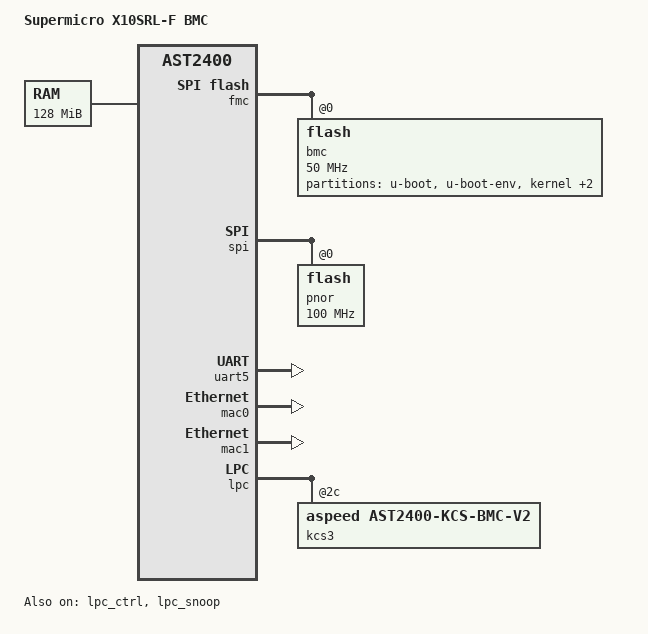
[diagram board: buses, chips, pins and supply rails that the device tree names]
// SPDX-License-Identifier: GPL-2.0+
// Copyright (c) 2026 OpenBMC Community
/dts-v1/;

#include "aspeed-g4.dtsi"
#include <dt-bindings/gpio/aspeed-gpio.h>

/ {
    model = "Supermicro X10SRL-F BMC";
    compatible = "supermicro,x10srl-bmc", "aspeed,ast2400";

    chosen {
        stdout-path = &uart5;
        bootargs = "console=ttyS4,115200 earlyprintk";
    };

    memory@40000000 {
        // TODO: Verify actual size from vendor U-Boot output
        // Conservative 128MB until confirmed
        reg = <0x40000000 0x08000000>;
    };

    reserved-memory {
        #address-cells = <1>;
        #size-cells = <1>;
        ranges;

        vga_memory: framebuffer@47800000 {
            no-map;
            reg = <0x47800000 0x00800000>; // 8MB for VGA
        };
    };
};

// SPI Flash - 32MB confirmed from product specs
&fmc {
    status = "okay";
    flash@0 {
        status = "okay";
        m25p,fast-read;
        label = "bmc";
        spi-max-frequency = <50000000>;
        partitions {
            compatible = "fixed-partitions";
            #address-cells = <1>;
            #size-cells = <1>;

            u-boot@0 {
                reg = <0x0 0x60000>;
                label = "u-boot";
            };

            u-boot-env@60000 {
                reg = <0x60000 0x20000>;
                label = "u-boot-env";
            };

            kernel@80000 {
                reg = <0x80000 0x480000>;
                label = "kernel";
            };

            rofs@500000 {
                reg = <0x500000 0x1700000>;
                label = "rofs";
            };

            rwfs@1c00000 {
                reg = <0x1c00000 0x400000>;
                label = "rwfs";
            };
        };
    };
};

// Host BIOS Flash
&spi {
    status = "okay";
    pinctrl-names = "default";
    pinctrl-0 = <&pinctrl_spi1_default>;

    flash@0 {
        status = "okay";
        m25p,fast-read;
        label = "pnor";
        spi-max-frequency = <100000000>;
    };
};

// Console UART
&uart5 {
    status = "okay";
};

// Network - TODO: Verify RMII vs RGMII from U-Boot output
&mac0 {
    status = "okay";
    use-ncsi;
    pinctrl-names = "default";
    pinctrl-0 = <&pinctrl_rmii1_default>;
};

&mac1 {
    status = "okay";
    pinctrl-names = "default";
    pinctrl-0 = <&pinctrl_rgmii2_default>;
};

// AST2400 SoC dtsi has no kcs1-kcs4 labels (those exist on g5/g6).
// Add KCS3 under LPC so host IPMI can use SuperMicro's 0xca2 mapping.
&lpc {
    kcs3: kcs@2c {
        compatible = "aspeed,ast2400-kcs-bmc-v2";
        reg = <0x2c 0x1>, <0x38 0x1>, <0x44 0x1>;
        interrupts = <8>;
        clocks = <&syscon ASPEED_CLK_GATE_LCLK>;
        aspeed,lpc-io-reg = <0xca2>;
        status = "okay";
    };
};

&lpc_ctrl {
    status = "okay";
};

&lpc_snoop {
    status = "okay";
    snoop-ports = <0x80>;
};

// I2C buses - ALL DISABLED until specific devices are identified
// DO NOT enable buses without knowing what's connected
&i2c0 {
    status = "disabled";
};

&i2c1 {
    status = "disabled";
};

&i2c2 {
    status = "disabled";
};

&i2c3 {
    status = "disabled";
};

&i2c4 {
    status = "disabled";
};

&i2c5 {
    status = "disabled";
};

&i2c6 {
    status = "disabled";
};

&i2c7 {
    status = "disabled";
};

&i2c8 {
    status = "disabled";
};

&i2c9 {
    status = "disabled";
};

&i2c10 {
    status = "disabled";
};

&i2c11 {
    status = "disabled";
};

&i2c12 {
    status = "disabled";
};

&i2c13 {
    status = "disabled";
};

// GPIO - NO NAMES until verified from actual hardware
// DO NOT set line names or configure as outputs
&gpio {
    status = "okay";
};

// ADC - disabled until sensor mapping is known
&adc {
    status = "disabled";
};

// PWM/FAN - disabled until channel mapping is verified
&pwm_tacho {
    status = "disabled";
};
